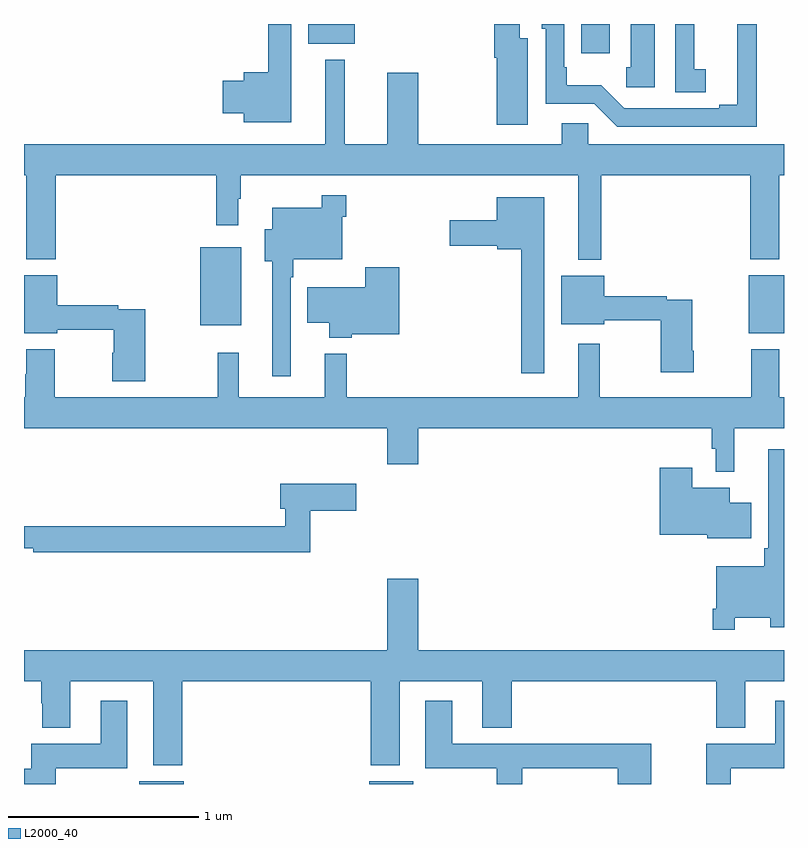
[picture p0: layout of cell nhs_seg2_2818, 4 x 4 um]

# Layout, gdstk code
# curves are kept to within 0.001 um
import gdstk
lib = gdstk.Library(unit=1e-6, precision=1e-09)
def R(c, l, rs):  # rectangles x0, y0, x1, y1
    for r in rs: c.add(gdstk.rectangle(r[:2], r[2:], *l))
def P(c, l, *ps):  # polygons
    for p in ps: c.add(gdstk.Polygon(p, *l))
L2000_40 = (2000, 40)

nhs_seg2_2818 = lib.new_cell('nhs_seg2_2818')
R(nhs_seg2_2818, L2000_40, [(259.607,609.8,259.84,609.814), (260.816,609.8,261.049,609.814), (262.814,612.173,263,612.478), (259.928,612.215,260.143,612.625), (261.932,613.647,262.084,613.8), (260.495,613.697,260.74,613.8)])
P(nhs_seg2_2818, L2000_40, [(262.321,613.8),(262.193,613.8),(262.193,613.572),(262.171,613.572),(262.171,613.467),(262.321,613.467)],
  [(262.856,613.8),(262.753,613.8),(262.754,613.376),(262.658,613.376),(262.658,613.356),(262.158,613.356),(262.037,613.477),(261.856,613.477),(261.856,613.573),(261.843,613.573),(261.843,613.8),(261.726,613.8),(261.726,613.776),(261.747,613.776),(261.747,613.38),(262.002,613.38),(262.122,613.26),(262.856,613.26)],
  [(262.588,613.561),(262.527,613.561),(262.527,613.8),(262.428,613.8),(262.428,613.441),(262.588,613.441)],
  [(260.407,613.8),(260.286,613.8),(260.286,613.546),(260.156,613.546),(260.156,613.502),(260.045,613.502),(260.045,613.331),(260.156,613.331),(260.156,613.283),(260.407,613.283)],
  [(261.652,613.726),(261.61,613.726),(261.61,613.8),(261.476,613.8),(261.476,613.622),(261.488,613.622),(261.488,613.269),(261.652,613.269)],
  [(262.039,613.004),(262.823,613.004),(262.823,612.563),(262.975,612.563),(262.975,613.004),(263,613.004),(263,613.168),(261.969,613.168),(261.969,613.278),(261.83,613.278),(261.83,613.168),(261.076,613.168),(261.076,613.543),(260.912,613.543),(260.912,613.168),(260.689,613.168),(260.689,613.612),(260.585,613.612),(260.585,613.168),(259,613.168),(259,613.004),(259.013,613.004),(259.013,612.563),(259.166,612.563),(259.166,613.004),(260.011,613.004),(260.011,612.741),(260.128,612.741),(260.128,612.881),(260.14,612.881),(260.14,613.004),(261.917,613.004),(261.917,612.56),(262.039,612.56)],
  [(260.403,612.467),(260.416,612.467),(260.416,612.563),(260.676,612.563),(260.676,612.785),(260.696,612.785),(260.696,612.898),(260.568,612.898),(260.568,612.832),(260.306,612.832),(260.306,612.721),(260.267,612.721),(260.267,612.551),(260.306,612.551),(260.306,611.946),(260.403,611.946)],
  [(261.739,612.889),(261.488,612.889),(261.488,612.766),(261.24,612.766),(261.24,612.632),(261.492,612.632),(261.492,612.614),(261.618,612.614),(261.618,611.961),(261.739,611.961)],
  [(260.724,612.167),(260.975,612.167),(260.975,612.52),(260.797,612.52),(260.797,612.415),(260.492,612.415),(260.492,612.227),(260.606,612.227),(260.606,612.149),(260.724,612.149)],
  [(259.638,612.3),(259.496,612.3),(259.496,612.32),(259.174,612.32),(259.174,612.478),(259,612.478),(259,612.173),(259.174,612.173),(259.174,612.192),(259.472,612.192),(259.472,612.069),(259.465,612.069),(259.465,611.921),(259.638,611.921)],
  [(262.524,612.079),(262.516,612.079),(262.516,612.348),(262.382,612.348),(262.382,612.368),(262.054,612.368),(262.054,612.475),(261.827,612.475),(261.827,612.221),(262.054,612.221),(262.054,612.24),(262.351,612.24),(262.351,611.967),(262.524,611.967)],
  [(260.912,611.484),(261.076,611.484),(261.076,611.672),(262.621,611.672),(262.621,611.565),(262.641,611.565),(262.641,611.444),(262.739,611.444),(262.739,611.672),(263,611.672),(263,611.836),(262.975,611.836),(262.975,612.088),(262.828,612.088),(262.828,611.836),(262.031,611.836),(262.031,612.118),(261.917,612.118),(261.917,611.836),(260.699,611.836),(260.699,612.064),(260.582,612.064),(260.582,611.836),(260.129,611.836),(260.129,612.07),(260.019,612.07),(260.019,611.836),(259.161,611.836),(259.161,612.088),(259.013,612.088),(259.013,611.957),(259.006,611.957),(259.006,611.836),(259,611.836),(259,611.672),(260.912,611.672)],
  [(262.742,610.676),(262.928,610.676),(262.928,610.626),(263,610.626),(263,611.563),(262.917,611.563),(262.917,611.041),(262.897,611.041),(262.897,610.945),(262.644,610.945),(262.644,610.723),(262.624,610.723),(262.624,610.611),(262.742,610.611)],
  [(262.828,611.281),(262.714,611.281),(262.714,611.359),(262.516,611.359),(262.516,611.464),(262.346,611.464),(262.346,611.111),(262.596,611.111),(262.596,611.093),(262.828,611.093)],
  [(260.507,611.237),(260.749,611.237),(260.749,611.379),(260.348,611.379),(260.348,611.249),(260.375,611.249),(260.375,611.156),(259,611.156),(259,611.04),(259.048,611.04),(259.048,611.02),(260.507,611.02)],
  [(259.832,610.34),(260.825,610.34),(260.825,609.899),(260.977,609.899),(260.977,610.34),(261.413,610.34),(261.413,610.097),(261.566,610.097),(261.566,610.34),(262.643,610.34),(262.643,610.097),(262.795,610.097),(262.795,610.34),(263,610.34),(263,610.504),(261.076,610.504),(261.076,610.879),(260.912,610.879),(260.912,610.504),(259,610.504),(259,610.34),(259.091,610.34),(259.091,610.224),(259.096,610.224),(259.096,610.097),(259.243,610.097),(259.243,610.34),(259.679,610.34),(259.679,609.899),(259.832,609.899)],
  [(261.623,609.883),(262.124,609.883),(262.124,609.8),(262.302,609.8),(262.302,610.012),(261.253,610.012),(261.253,610.237),(261.113,610.237),(261.113,609.884),(261.488,609.884),(261.488,609.8),(261.623,609.8)],
  [(259.168,609.884),(259.543,609.884),(259.543,610.237),(259.403,610.237),(259.403,610.012),(259.039,610.012),(259.039,609.88),(259,609.88),(259,609.8),(259.168,609.8)],
  [(262.72,609.884),(263,609.884),(263,610.237),(262.955,610.237),(262.955,610.012),(262.591,610.012),(262.591,609.8),(262.72,609.8)])

lib.write_gds('nhs_seg2_2818.gds')
